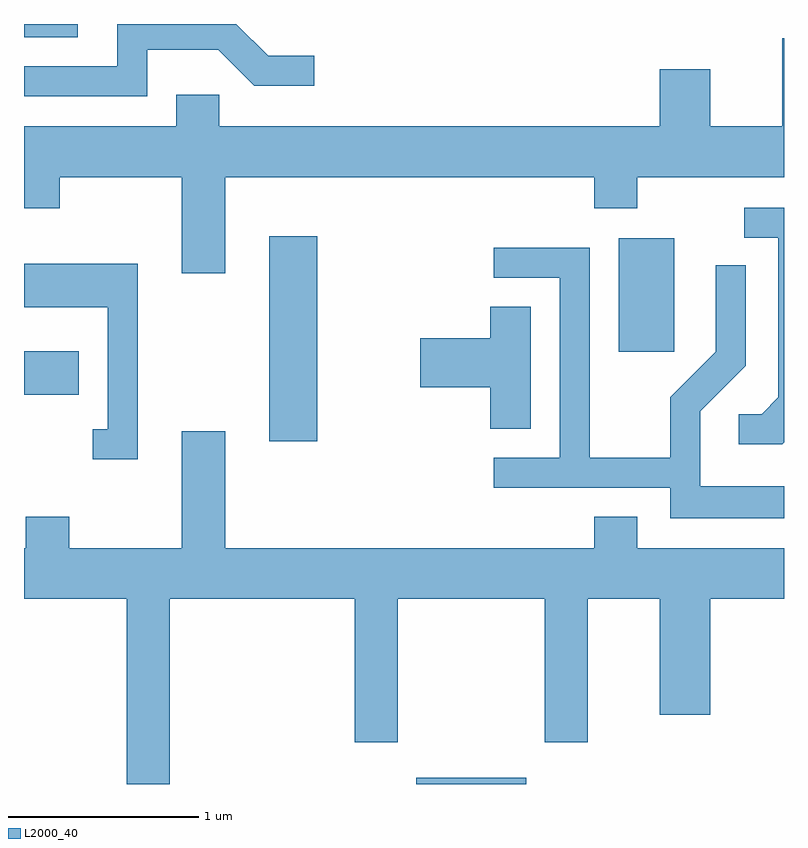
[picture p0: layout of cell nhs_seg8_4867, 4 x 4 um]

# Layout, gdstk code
import gdstk
lib = gdstk.Library(unit=1e-6, precision=1e-09)
def R(c, l, rs):  # rectangles x0, y0, x1, y1
    for r in rs: c.add(gdstk.rectangle(r[:2], r[2:], *l))
def P(c, l, *ps):  # polygons
    for p in ps: c.add(gdstk.Polygon(p, *l))
L2000_40 = (2000, 40)

nhs_seg8_4867 = lib.new_cell('nhs_seg8_4867')
R(nhs_seg8_4867, L2000_40, [(333.676,1824.342,334.254,1824.374), (332.901,1826.146,333.154,1827.224), (331.611,1826.391,331.899,1826.619), (334.741,1826.616,335.034,1827.214), (331.611,1828.271,331.894,1828.342)])
P(nhs_seg8_4867, L2000_40, [(332.259,1828.206),(332.634,1828.206),(332.824,1828.016),(333.138,1828.016),(333.138,1828.174),(332.897,1828.174),(332.729,1828.342),(332.101,1828.342),(332.101,1828.119),(331.611,1828.119),(331.611,1827.961),(332.259,1827.961)],
  [(332.669,1827.536),(334.611,1827.536),(334.611,1827.371),(334.839,1827.371),(334.839,1827.536),(335.611,1827.536),(335.611,1828.268),(335.601,1828.268),(335.601,1827.804),(335.224,1827.804),(335.224,1828.104),(334.956,1828.104),(334.956,1827.804),(332.639,1827.804),(332.639,1827.969),(332.411,1827.969),(332.411,1827.804),(331.611,1827.804),(331.611,1827.371),(331.799,1827.371),(331.799,1827.536),(332.441,1827.536),(332.441,1827.031),(332.669,1827.031)],
  [(335.611,1826.14),(335.611,1827.374),(335.403,1827.374),(335.403,1827.216),(335.581,1827.216),(335.581,1826.377),(335.494,1826.289),(335.373,1826.289),(335.373,1826.131),(335.602,1826.131)],
  [(335.611,1825.909),(335.169,1825.909),(335.169,1826.304),(335.409,1826.544),(335.409,1827.073),(335.251,1827.073),(335.251,1826.617),(335.011,1826.377),(335.011,1826.059),(334.589,1826.059),(334.589,1827.164),(334.083,1827.164),(334.083,1827.006),(334.431,1827.006),(334.431,1826.059),(334.083,1826.059),(334.083,1825.901),(335.011,1825.901),(335.011,1825.741),(335.611,1825.741)],
  [(332.209,1827.079),(331.611,1827.079),(331.611,1826.851),(332.051,1826.851),(332.051,1826.209),(331.973,1826.209),(331.973,1826.051),(332.209,1826.051)],
  [(334.279,1826.854),(334.066,1826.854),(334.066,1826.689),(333.696,1826.689),(333.696,1826.431),(334.066,1826.431),(334.066,1826.211),(334.279,1826.211)],
  [(332.379,1825.316),(333.351,1825.316),(333.351,1824.561),(333.579,1824.561),(333.579,1825.316),(334.351,1825.316),(334.351,1824.561),(334.579,1824.561),(334.579,1825.316),(334.956,1825.316),(334.956,1824.706),(335.224,1824.706),(335.224,1825.316),(335.611,1825.316),(335.611,1825.584),(334.839,1825.584),(334.839,1825.749),(334.611,1825.749),(334.611,1825.584),(332.669,1825.584),(332.669,1826.199),(332.441,1826.199),(332.441,1825.584),(331.849,1825.584),(331.849,1825.749),(331.621,1825.749),(331.621,1825.584),(331.611,1825.584),(331.611,1825.316),(332.151,1825.316),(332.151,1824.342),(332.379,1824.342)])

lib.write_gds('nhs_seg8_4867.gds')
